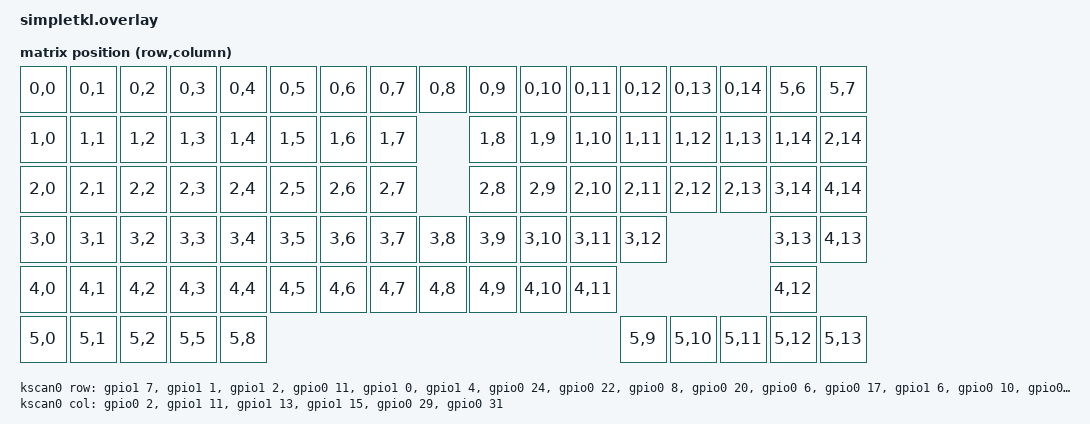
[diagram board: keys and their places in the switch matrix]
/*
 * Shield Overlay for: simpletkl
 *
 * This file defines the matrix hardware based on your diagram.
 * It sets up the 15 electrical rows, 6 columns, and
 * the matrix_transform needed to map your 17 physical rows.
 */

#include <dt-bindings/zmk/matrix_transform.h>

/ {
    chosen {
        zmk,kscan = &kscan0;
        zmk,matrix_transform = &default_transform;
    };

kscan0: kscan {
    compatible = "zmk,kscan-gpio-matrix";
    label = "KSCAN";
    diode-direction = "col2row";

    col-gpios =
        <&gpio0 2 0>,   /* C0 -> P0.02 */
        <&gpio1 11 0>,  /* C1 -> P1.11 */
        <&gpio1 13 0>,  /* C2 -> P1.13 */
        <&gpio1 15 0>,  /* C3 -> P1.15 */
        <&gpio0 29 0>,  /* C4 -> P0.29 */
        <&gpio0 31 0>   /* C5 -> P0.31 */
        ;

    row-gpios =
        <&gpio1 7 0>,   /* R0  -> P1.07 */
        <&gpio1 1 0>,   /* R1  -> P1.01 */
        <&gpio1 2 0>,   /* R2  -> P1.02 */
        <&gpio0 11 0>,  /* R3  -> P0.11 */
        <&gpio1 0 0>,   /* R4  -> P1.00 */
        <&gpio1 4 0>,   /* R5  -> P1.04 */
        <&gpio0 24 0>,  /* R6  -> P0.24 */
        <&gpio0 22 0>,  /* R7  -> P0.22 */
        <&gpio0 8 0>,   /* R8  -> P0.08 */
        <&gpio0 20 0>,  /* R9  -> P0.20 */
        <&gpio0 6 0>,   /* R10 -> P0.06 */
        <&gpio0 17 0>,  /* R11 -> P0.17 */
        <&gpio1 6 0>,   /* R12 -> P1.06 */
        <&gpio0 10 0>,  /* R13 -> P0.10 */
        <&gpio0 9 0>    /* R14 -> P0.09 */
        ;
};

    default_transform: matrix_transform {
         compatible = "zmk,matrix-transform";
         rows = <15>;
         columns = <6>;
         /* this is what i get for being lazy xD */
         map = <
RC(0,0) RC(0,1) RC(0,2) RC(0,3) RC(0,4) RC(0,5) RC(0,6) RC(0,7) RC(0,8) RC(0,9) RC(0,10) RC(0,11) RC(0,12) RC(0,13) RC(0,14) RC(5,6) RC(5,7)
RC(1,0) RC(1,1) RC(1,2) RC(1,3) RC(1,4) RC(1,5) RC(1,6) RC(1,7) RC(1,8) RC(1,9) RC(1,10) RC(1,11) RC(1,12) RC(1,13)          RC(1,14) RC(2,14)
RC(2,0) RC(2,1) RC(2,2) RC(2,3) RC(2,4) RC(2,5) RC(2,6) RC(2,7) RC(2,8) RC(2,9) RC(2,10) RC(2,11) RC(2,12) RC(2,13)          RC(3,14) RC(4,14)
RC(3,0) RC(3,1) RC(3,2) RC(3,3) RC(3,4) RC(3,5) RC(3,6) RC(3,7) RC(3,8) RC(3,9) RC(3,10) RC(3,11) RC(3,12)                   RC(3,13) RC(4,13)
RC(4,0) RC(4,1) RC(4,2) RC(4,3) RC(4,4) RC(4,5) RC(4,6) RC(4,7) RC(4,8) RC(4,9) RC(4,10) RC(4,11)                            RC(4,12) 
RC(5,0) RC(5,1) RC(5,2)                 RC(5,5)                 RC(5,8) RC(5,9) RC(5,10)                            RC(5,11) RC(5,12) RC(5,13)
        >;
     };
 };
